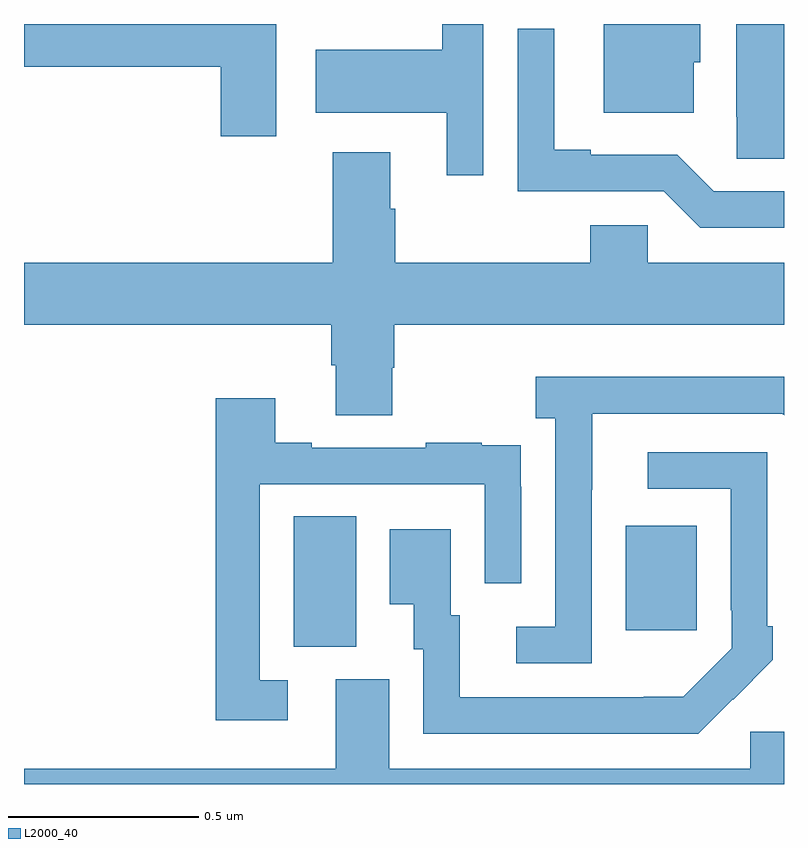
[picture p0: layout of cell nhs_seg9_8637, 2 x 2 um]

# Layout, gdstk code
import gdstk
lib = gdstk.Library(unit=1e-6, precision=1e-09)
def R(c, l, rs):  # rectangles x0, y0, x1, y1
    for r in rs: c.add(gdstk.rectangle(r[:2], r[2:], *l))
def P(c, l, *ps):  # polygons
    for p in ps: c.add(gdstk.Polygon(p, *l))
L2000_40 = (2000, 40)

nhs_seg9_8637 = lib.new_cell('nhs_seg9_8637')
R(nhs_seg9_8637, L2000_40, [(219.71,1240.861,219.874,1241.204), (220.583,1240.905,220.771,1241.179)])
P(nhs_seg9_8637, L2000_40, [(221,1242.5),(220.874,1242.5),(220.874,1242.256),(220.875,1242.256),(220.875,1242.145),(221,1242.145)],
  [(219.664,1242.5),(219,1242.5),(219,1242.388),(219.518,1242.388),(219.518,1242.204),(219.664,1242.204)],
  [(220.762,1242.399),(220.78,1242.399),(220.78,1242.5),(220.526,1242.5),(220.526,1242.266),(220.762,1242.266)],
  [(220.209,1242.5),(220.101,1242.5),(220.101,1242.432),(219.768,1242.432),(219.768,1242.266),(220.112,1242.266),(220.112,1242.102),(220.209,1242.102)],
  [(221,1242.06),(220.815,1242.06),(220.719,1242.156),(220.492,1242.156),(220.492,1242.169),(220.396,1242.169),(220.396,1242.487),(220.299,1242.487),(220.299,1242.06),(220.683,1242.06),(220.779,1241.964),(221,1241.964)],
  [(219.969,1241.595),(219.974,1241.595),(219.974,1241.708),(221,1241.708),(221,1241.872),(220.641,1241.872),(220.641,1241.97),(220.49,1241.97),(220.49,1241.872),(219.977,1241.872),(219.977,1242.014),(219.964,1242.014),(219.964,1242.163),(219.812,1242.163),(219.812,1241.872),(219,1241.872),(219,1241.708),(219.809,1241.708),(219.809,1241.602),(219.821,1241.602),(219.821,1241.47),(219.969,1241.47)],
  [(220.494,1241.275),(220.495,1241.275),(220.495,1241.475),(220.995,1241.475),(221,1241.47),(221,1241.572),(220.347,1241.572),(220.347,1241.462),(220.398,1241.462),(220.398,1240.914),(220.296,1240.914),(220.296,1240.818),(220.494,1240.818)],
  [(219.694,1240.773),(219.621,1240.773),(219.621,1241.289),(220.212,1241.289),(220.212,1241.028),(220.308,1241.028),(220.308,1241.282),(220.307,1241.282),(220.307,1241.391),(220.205,1241.391),(220.205,1241.398),(220.057,1241.398),(220.057,1241.385),(219.757,1241.385),(219.757,1241.398),(219.661,1241.398),(219.661,1241.515),(219.505,1241.515),(219.505,1240.668),(219.694,1240.668)],
  [(220.865,1240.723),(220.866,1240.722),(220.971,1240.827),(220.971,1240.915),(220.956,1240.915),(220.956,1241.373),(220.641,1241.373),(220.641,1241.277),(220.86,1241.277),(220.86,1240.957),(220.863,1240.957),(220.863,1240.857),(220.735,1240.729),(220.631,1240.729),(220.631,1240.728),(220.147,1240.728),(220.147,1240.944),(220.123,1240.944),(220.123,1241.17),(219.962,1241.17),(219.962,1240.973),(220.025,1240.973),(220.025,1240.854),(220.05,1240.854),(220.05,1240.632),(220.774,1240.632)],
  [(221,1240.638),(220.911,1240.638),(220.911,1240.54),(219.961,1240.54),(219.961,1240.776),(219.821,1240.776),(219.821,1240.54),(219,1240.54),(219,1240.5),(221,1240.5)])

lib.write_gds('nhs_seg9_8637.gds')
